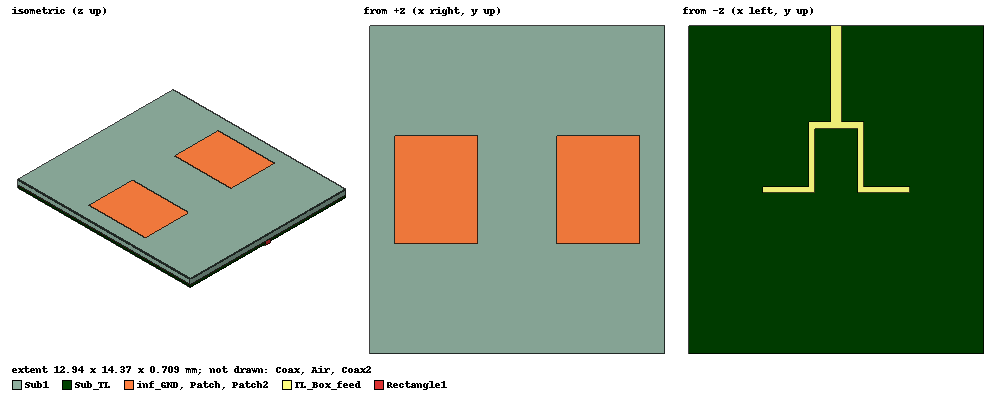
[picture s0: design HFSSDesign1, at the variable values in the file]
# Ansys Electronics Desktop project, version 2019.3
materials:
  vacuum: permittivity=1
  Rogers RT/duroid 5880 (tm): permittivity=2.2 dielectric_loss_tangent=0.0009
  pec: conductivity=1e+30
  Rogers RO4003 (tm): permittivity=3.55 dielectric_loss_tangent=0.0027
  copper: permeability=0.999991 conductivity=58000000

design HFSSDesign1 (HFSS, DrivenModal, model units mm)
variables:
  Lp = 3.63mm
  Wp = 4.7mm
  hs = 0.406mm
  Ws = 12.240310345*hs+Wp*2
  Ls = 14*hs+Lp*2
  xsub = -Ls/2
  ysub = -Ws/2
  xfeed = 1.33mm
  dp = 3.5mm
  rcoax = 0.14mm
  hcoax = 0.203mm
  rprope = 0.07mm
  Lair = 0.01+Ls
  Wair = 0.01+Ws
  xair = Lair/2
  yair = Wair/2
  hair = 5mm
  yfeed = 0mm
  xp = dp/2
  yp = -Wp/2
  Wp2 = 12*hs+Wp*2
  hgnd = -0.032mm
  X_TL_1 = 2.288307mm
  Y_TL_1 = 0.276146mm
  Y_TL_vertical = 3.105225mm
  hTL_box = 0.1mm
  zair = -1mm
  hsubTl = 0.203mm
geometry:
  Sub1 [Rogers RO4003 (tm)] = box(corner=(xsub, ysub, 0mm), size=(Ls, Ws, hs))
  Patch [Rogers RT/duroid 5880 (tm)] = rectangle(corner=(xp, yp, hs), x_size=Lp, y_size=Wp)
  Coax [vacuum] = cylinder(axis=Z, base_centre=(xp+xfeed, yfeed, 0mm), radius=rcoax, height=-hcoax)
  Coax_Pin [pec] = cylinder(axis=Z, base_centre=(xp+xfeed, yfeed, 0mm), radius=rprope, height=-hcoax)
  Prope [pec] = cylinder(axis=Z, base_centre=(xp+xfeed, yfeed, 0mm), radius=rprope, height=hs)
  Air [vacuum] = box(corner=(-xair, -yair, zair), size=(Lair, Wair, hair))
  Patch2 = rectangle(corner=(xp-Lp-dp, yp, hs), x_size=Lp, y_size=Wp)
  Coax2 [vacuum] = cylinder(axis=Z, base_centre=(-(xp+xfeed), yfeed, 0mm), radius=rcoax, height=-hcoax)
  Coax_Pin2 [pec] = cylinder(axis=Z, base_centre=(-(xp+xfeed), yfeed, 0mm), radius=rprope, height=-hcoax)
  Prope2 [pec] = cylinder(axis=Z, base_centre=(-(xp+xfeed), yfeed, 0mm), radius=rprope, height=hs)
  inf_GND [copper] = box(corner=(xsub, ysub, 0mm), size=(Ls, Ws, hgnd))
  Cylinder_cut_2 = cylinder(axis=Z, base_centre=(-(xp+xfeed), yfeed, 0), radius=rcoax, height=hgnd)
  Cylinder_cut_1 = cylinder(axis=Z, base_centre=(xp+xfeed, yfeed, 0), radius=rcoax, height=hgnd)
  inf_GND.subtract(Cylinder_cut_1)
  inf_GND.subtract(Cylinder_cut_2)
  Sub_TL [Rogers RO4003 (tm)] = box(corner=(xsub, ysub, 0mm), size=(Ls, Ws, -hsubTl))
  TL_Box_feed [pec] = box(corner=(0.227035mm, Ws/2, -0.203mm), size=(-0.45407mm, -4.228412mm, -hTL_box))
  TL_Box_inter = box(corner=(1.216146mm, 2.965225mm, -0.203mm), size=(-2.161693mm, -0.275mm, -hTL_box))
  TL_Box_feed.unite(TL_Box_inter)
  TL_Box_TL1_feed = box(corner=(0.94mm, -0.14mm, -0.203mm), size=(0.276146mm, 2.830225mm, -hTL_box))
  TL_Box_feed.unite(TL_Box_TL1_feed)
  TL_Box_TL1 = box(corner=(3.228307mm, -0.14mm, -0.203mm), size=(-2.012161mm, 0.276146mm, -hTL_box))
  TL_Box_feed.unite(TL_Box_TL1)
  TL_Box_TL2_feed = box(corner=(-1.221693mm, 2.966371mm, -0.203mm), size=(0.28mm, -3.106371mm, -hTL_box))
  TL_Box_feed.unite(TL_Box_TL2_feed)
  TL_Box_TL2 = box(corner=(-3.23mm, 0.136146mm, -0.203mm), size=(2.008307mm, -0.276146mm, -0.1mm))
  TL_Box_feed.unite(TL_Box_TL2)
  Rectangle1 [pec] = rectangle(corner=(0.227035mm, 7.184783mm, -0.303mm), z_size=hTL_box+hsubTl+0.9*hgnd, x_size=-0.45407mm)
  group Input_feed1 = Coax, Coax_Pin, Prope
  group Input_feed2 = Coax2, Coax_Pin2, Prope2
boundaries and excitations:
  PerfE_Patch: Perfect E Objects=Patch
  Rad1: Radiation Faces=Air.face(+x, +y, -y, -x, +z)
  PerfE_Patch2: Perfect E Objects=Patch2
  1: Wave Port Faces=Rectangle1.face NumModes=1 Modes{Mode1{CharImp=Zpi}}
  reference conductors: inf_GND
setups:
  Setup1: HfssDriven Frequency=20GHz MaxDeltaS=0.02 MaximumPasses=18 MinimumPasses=1 MinimumConvergedPasses=1 PercentRefinement=30 BasisOrder=1 PortAccuracy=2
    sweep Sweep: 17GHz to 23GHz step 0.1GHz; Type=Fast SaveFields SaveRadFields GenerateFieldsForAllFreqs
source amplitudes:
  1:1: 1W 0deg
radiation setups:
  e_plane: Infinite Sphere Theta=-180deg..180deg step 2deg Phi=0deg..0deg step 1deg
  h_plane: Infinite Sphere Theta=-180deg..180deg step 2deg Phi=90deg..90deg step 1deg
  3d: Infinite Sphere Theta=-180deg..180deg step 2deg Phi=0deg..360deg step 2deg
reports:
  Zin: mag(Zt(Coax_Pin_T1,Coax_Pin_T1)) vs Freq on Setup1 : Sweep; markers MX1 at x=2e+10
  Eradation_pattern: abs(rETotal) vs Theta on Setup1 : LastAdaptive, e_plane [Phi=all Freq=20GHz]
  Hradation_pattern: abs(rETotal) vs Theta on Setup1 : LastAdaptive, h_plane [Phi=all Freq=20GHz]
  Co_X_graph: dB10normalize(GainPhi), dB10normalize(GainTheta) vs Theta on Setup1 : LastAdaptive, e_plane [Phi=0deg Freq=20GHz]
  Terminal Z Parameter Plot 1: mag(Zt(Coax_Pin2_T1,Coax_Pin2_T1)) vs Freq on Setup1 : Sweep; markers MX1 at x=2e+10
  Terminal S Parameter Plot 3: dB(St(Coax_Pin_T1,Coax_Pin_T1)) vs Freq on Setup1 : Sweep; markers m1 at 19GHz, MX1 at x=2.0152225e+10, MX2 at x=1.9847775e+10
  Gain Plot 1: GainTotal vs Theta on Setup1 : LastAdaptive, e_plane [Phi=all Freq=20GHz dp=all]
  Terminal S Parameter Plot 4: dB(St(Coax_Pin_T1,Coax_Pin_T1)) vs Freq on Setup1 : Sweep
  rE Plot 1: dB(rETotal) vs Phi, Theta on Setup1 : LastAdaptive, 3d [Freq=20GHz dp=1mm]
  rE Plot 2: abs(rETotal) vs Phi, Theta on Setup1 : LastAdaptive, 3d [Freq=20GHz dp=1mm]
  rE Plot 3: abs(rETotal) vs Phi, Theta on Setup1 : LastAdaptive, 3d [Freq=20GHz dp=1mm]
  Terminal S Parameter Plot 5: dB(St(Coax_Pin_T1,Coax_Pin_T1)) vs Freq on Setup1 : Sweep [dp=all]
  Gain Plot 2: dB(GainTotal) vs Phi, Theta on Setup1 : LastAdaptive, 3d [Freq=20GHz dp=1mm]
  rE Plot 4: rETotal vs Phi, Theta on Setup1 : LastAdaptive, 3d [Freq=20GHz dp=1mm]
  rE Plot 5: rETotal vs Phi, Theta on Setup1 : LastAdaptive, 3d [Freq=20GHz dp=1mm]
  rE Plot 6: mag(rETheta) vs Phi, Theta on Setup1 : LastAdaptive, 3d [Freq=20GHz dp=1mm]
  Terminal S Parameter Plot 6: dB(St(Coax_Pin_T1,Coax_Pin_T1)) vs Freq on Setup1 : Sweep [hs=all dp=all]
  rE Plot 7: rETotal vs Phi, Theta on Setup1 : LastAdaptive, 3d [Freq=20GHz hs=0.406mm dp=1mm]
  rE Plot 8: dB(rEX) vs Phi, Theta on Setup1 : LastAdaptive, 3d [Freq=20GHz hs=0.406mm dp=1mm]
  Terminal S Parameter Plot 7: dB(St(Coax_Pin_T1,Coax_Pin_T1)) vs Freq on Setup1 : Sweep [Lp=all Wp=all hs=all dp=all hcoax=all]
  Terminal S Parameter Plot 8: dB(St(Coax_Pin_T1,Coax_Pin_T1)) vs Freq on Setup1 : Sweep [Lp=all Wp=all hs=all dp=all hcoax=all]
  Terminal S Parameter Plot 9: dB(St(Coax_Pin_T1,Coax_Pin_T1)) vs Freq on Setup1 : Sweep
  rE Plot 9: dB(rETotal) vs Phi, Theta on Setup1 : LastAdaptive, 3d [Freq=20GHz]
  Directivity Plot 1: dB(DirTotal) vs Phi, Theta on Setup1 : LastAdaptive, 3d [Freq=20GHz]
  Gain Plot 3: dB(GainTotal) vs Phi, Theta on Setup1 : LastAdaptive, 3d [Freq=20GHz]
  Terminal S Parameter Plot 10: dB(St(Coax_Pin_T1,Coax_Pin_T1)) vs Freq on Setup1 : Sweep
  rE Plot 10: dB(rETotal) vs Phi, Theta on Setup1 : LastAdaptive, 3d [Freq=20GHz]
  Terminal Z Parameter Plot 2: dB20(Zt(Coax_Pin_T1,Coax_Pin_T1)) vs Freq on Setup1 : Sweep; markers MX1 at x=2.0004274e+10, MY1 at y=20
  Terminal Z Parameter Plot 3: mag(Zt(Coax_Pin2_T1,Coax_Pin2_T1)) vs Freq on Setup1 : Sweep; markers MX1 at x=2.0002111e+10
  Terminal Z Parameter Plot 4: mag(Zt(Coax_Pin_T1,Coax_Pin_T1)) vs Freq on Setup1 : Sweep; markers MX1 at x=1.9997889e+10
  rE Plot 11: rETotal vs Phi, Theta on Setup1 : LastAdaptive, 3d [Freq=20GHz]
  Terminal S Parameter Plot 11: dB(St(Coax_Pin_T1,Coax_Pin_T1)) vs Freq on Setup1 : Sweep
  Terminal Z Parameter Plot 5: mag(Zt(Coax_Pin_T1,Coax_Pin_T1)) vs Freq on Setup1 : Sweep
